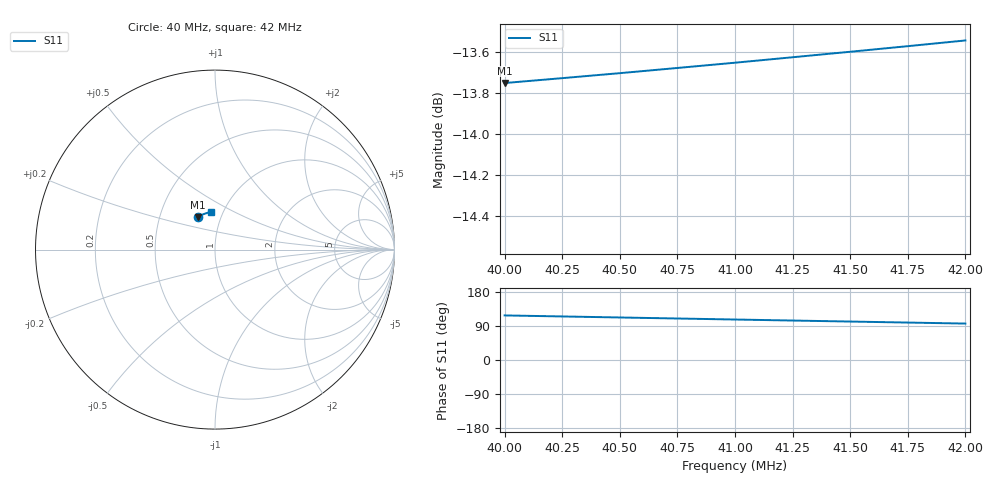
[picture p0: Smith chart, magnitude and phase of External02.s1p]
# Hz S RI R 50
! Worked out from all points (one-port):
!   9 points, 40 MHz to 42 MHz, reference 50 ohm
!   lowest |S11| = -13.8 dB at 40 MHz (marker M1), VSWR 1.52, Z = 38.9 + j14.8 ohm
!   |S11| at or under -10 dB: start of sweep to end of sweep
4e7  -0.0952 0.1819
4.025e7  -0.0867 0.1867
4.05e7  -0.078 0.1911
4.075e7  -0.0692 0.1951
4.1e7  -0.0601 0.1987
4.125e7  -0.0509 0.202
4.15e7  -0.0415 0.2047
4.175e7  -0.032 0.2071
4.2e7  -0.0225 0.209
